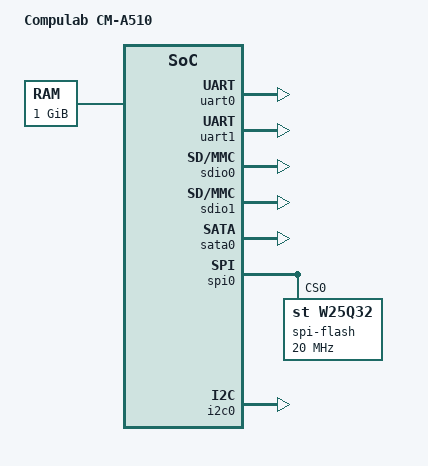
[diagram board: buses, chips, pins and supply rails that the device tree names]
/dts-v1/;

#include "dove.dtsi"

/ {
	model = "Compulab CM-A510";
	compatible = "compulab,cm-a510", "marvell,dove";

	memory {
		device_type = "memory";
		reg = <0x00000000 0x40000000>;
	};

	chosen {
		bootargs = "console=ttyS0,115200n8 earlyprintk";
	};
};

&uart0 { status = "okay"; };
&uart1 { status = "okay"; };
&sdio0 { status = "okay"; };
&sdio1 { status = "okay"; };
&sata0 { status = "okay"; };

&spi0 {
	status = "okay";

	/* spi0.0: 4M Flash Winbond W25Q32BV */
	spi-flash@0 {
		compatible = "st,w25q32";
		spi-max-frequency = <20000000>;
		reg = <0>;
	};
};

&i2c0 {
	  status = "okay";
};
